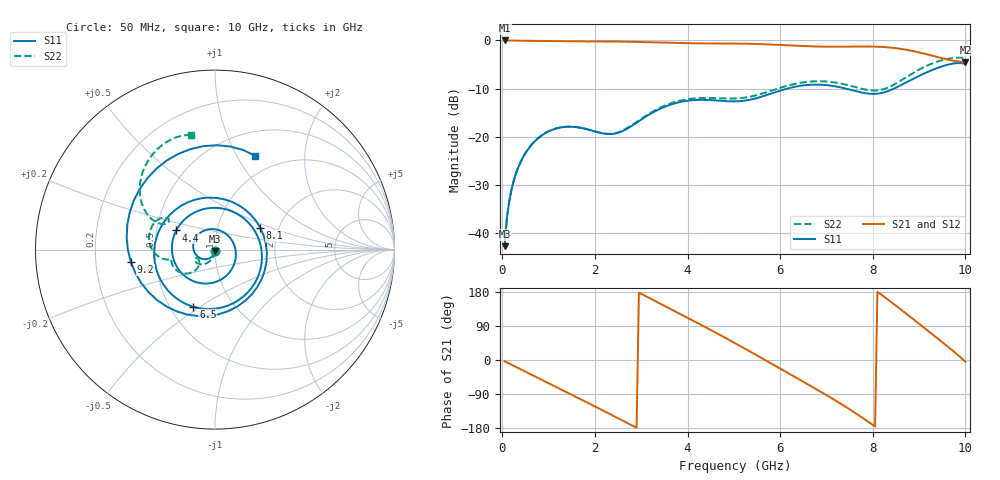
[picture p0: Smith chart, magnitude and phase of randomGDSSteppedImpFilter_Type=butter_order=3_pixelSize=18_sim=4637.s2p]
! freq	dB(S11)	phase(S11)	dB(S12)	phase(S12)
!  dB(S21)	phase(S21)	dB(S22)	phase(S22)
!S-par simulation data
#  GHz  S  DB  R 50
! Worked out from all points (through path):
!   200 points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, 50 MHz to 10 GHz, reference 50 ohm
!   highest |S21| = -0.01 dB at 50 MHz (marker M1); lowest = -4.5 dB at 10 GHz (marker M2)
!   group delay of S21, straight-line fit = 195 ps
!   lowest |S11| = -42.8 dB at 50 MHz (marker M3), VSWR 1.01, Z = 50 - j0.727 ohm
!   |S11| at or under -10 dB: start of sweep to 6.156 GHz; 7.413 GHz to 8.46 GHz (1.048 GHz wide, 13.2 % of centre)
!   |S22| runs from -42.8 to -3.6 dB; largest |S21 - S12| = 0
!   S11 on the Smith chart (normalised r, x): 50 MHz: 1.00, -0.01; 4.4 GHz: 0.63, +0.14; 6.5 GHz: 0.65, -0.47; 8.1 GHz: 1.61, +0.42; 9.2 GHz: 0.36, -0.06; 10 GHz: 0.77, +1.19
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0.05  -42.76 -90.8  -0.01 -3.1  -0.01 -3.1  -42.75 -88.9
0.2  -30.97 -104.9  -0.03 -12.4  -0.03 -12.4  -30.92 -98.5
0.55  -22.72 -133.1  -0.07 -33.9  -0.07 -33.9  -22.67 -115.2
1.15  -18.36 177.7  -0.15 -70.4  -0.15 -70.4  -18.31 -139.8
1.75  -18.28 119.8  -0.19 -107.0  -0.19 -107.0  -18.25 -155.2
2.6  -18.83 -1.5  -0.25 -160.0  -0.25 -160.0  -18.72 -138.9
3.4  -14.24 -103.0  -0.44 149.4  -0.44 149.4  -14.02 -138.2
3.9  -12.69 -154.0  -0.56 117.8  -0.56 117.8  -12.39 -150.2
4.4  -12.36 153.6  -0.62 85.8  -0.62 85.8  -11.95 -161.5
5.05  -12.66 73.3  -0.65 42.8  -0.65 42.8  -12.05 -167.8
5.75  -11.22 -22.2  -0.83 -5.2  -0.83 -5.2  -10.62 -170.0
6.5  -9.35 -110.7  -1.18 -57.3  -1.18 -57.3  -8.72 173.9
6.7  -9.20 -133.1  -1.25 -71.3  -1.25 -71.3  -8.52 168.1
7.4  -9.97 141.6  -1.29 -122.4  -1.29 -122.4  -9.15 149.9
7.75  -10.81 88.6  -1.26 -150.2  -1.26 -150.2  -10.03 146.6
8.1  -11.06 25.7  -1.31 179.9  -1.31 179.9  -10.39 150.2
8.35  -10.45 -22.2  -1.46 157.4  -1.46 157.4  -9.71 154.2
8.8  -8.35 -104.6  -2.07 114.9  -2.07 114.9  -7.17 151.6
9.2  -6.49 -171.8  -2.97 76.2  -2.97 76.2  -5.12 138.9
9.45  -5.54 148.8  -3.60 52.0  -3.60 52.0  -4.23 128.2
9.7  -4.87 111.1  -4.16 27.3  -4.16 27.3  -3.70 116.5
10  -4.90 66.8  -4.46 -4.6  -4.46 -4.6  -3.71 101.8
